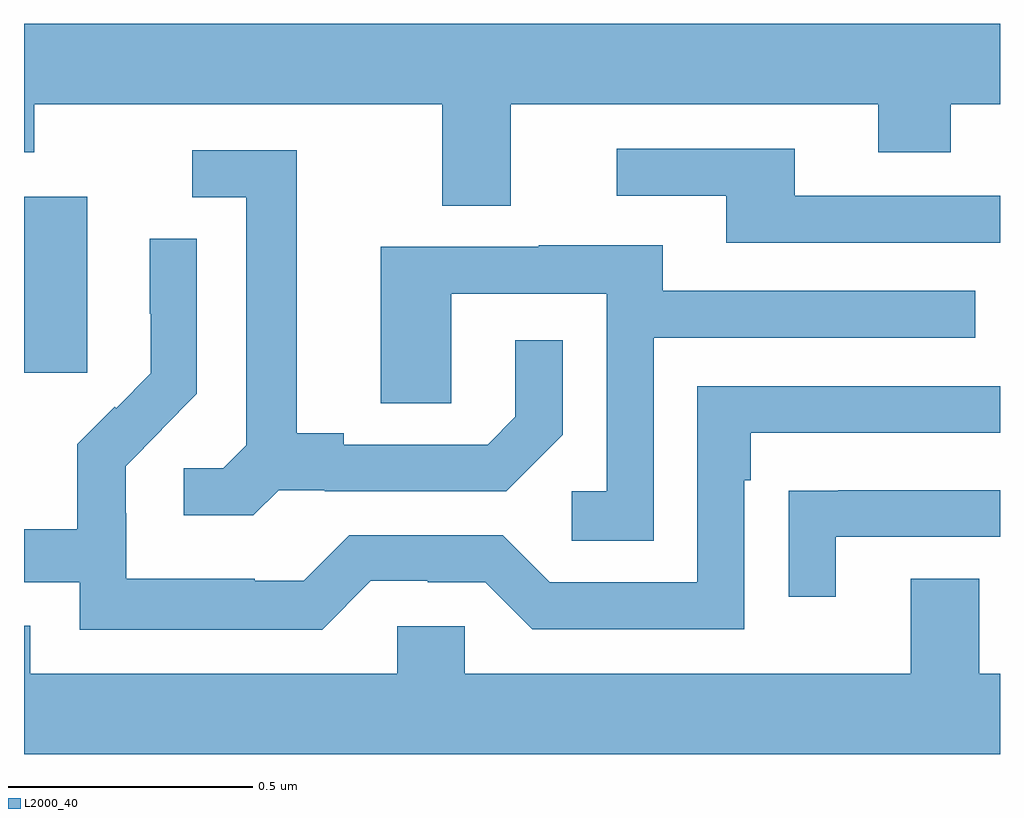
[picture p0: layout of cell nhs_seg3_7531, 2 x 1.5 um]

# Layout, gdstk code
import gdstk
lib = gdstk.Library(unit=1e-6, precision=1e-09)
def R(c, l, rs):  # rectangles x0, y0, x1, y1
    for r in rs: c.add(gdstk.rectangle(r[:2], r[2:], *l))
def P(c, l, *ps):  # polygons
    for p in ps: c.add(gdstk.Polygon(p, *l))
L2000_40 = (2000, 40)

nhs_seg3_7531 = lib.new_cell('nhs_seg3_7531')
R(nhs_seg3_7531, L2000_40, [(204,744.321,204.13,744.682)])
P(nhs_seg3_7531, L2000_40, [(204.997,744.872),(205.751,744.872),(205.751,744.773),(205.899,744.773),(205.899,744.872),(206,744.872),(206,745.036),(204,745.036),(204,744.773),(204.021,744.773),(204.021,744.872),(204.857,744.872),(204.857,744.664),(204.997,744.664)],
  [(206,744.684),(205.579,744.684),(205.579,744.78),(205.215,744.78),(205.215,744.684),(205.439,744.684),(205.439,744.588),(206,744.588)],
  [(204.522,744.081),(204.616,744.081),(204.616,744.078),(204.988,744.078),(205.104,744.194),(205.104,744.388),(205.007,744.388),(205.007,744.231),(204.95,744.174),(204.655,744.174),(204.655,744.197),(204.559,744.197),(204.559,744.777),(204.345,744.777),(204.345,744.681),(204.455,744.681),(204.455,744.173),(204.408,744.126),(204.327,744.126),(204.327,744.029),(204.47,744.029)],
  [(204.711,743.895),(204.827,743.895),(204.827,743.892),(204.945,743.892),(205.041,743.796),(205.476,743.796),(205.476,744.101),(205.489,744.101),(205.489,744.198),(206,744.198),(206,744.294),(205.38,744.294),(205.38,743.892),(205.077,743.892),(204.981,743.988),(204.666,743.988),(204.573,743.895),(204.473,743.895),(204.473,743.899),(204.21,743.899),(204.21,744.033),(204.208,744.033),(204.208,744.13),(204.282,744.204),(204.281,744.205),(204.354,744.278),(204.354,744.596),(204.258,744.596),(204.258,744.442),(204.26,744.442),(204.26,744.32),(204.189,744.249),(204.186,744.252),(204.109,744.175),(204.109,744.001),(204,744.001),(204,743.892),(204.114,743.892),(204.114,743.795),(204.611,743.795)],
  [(205.29,744.393),(205.949,744.393),(205.949,744.489),(205.309,744.489),(205.309,744.583),(205.055,744.583),(205.055,744.579),(204.731,744.579),(204.731,744.259),(204.876,744.259),(204.876,744.483),(205.194,744.483),(205.194,744.078),(205.122,744.078),(205.122,743.977),(205.29,743.977)],
  [(205.663,743.985),(206,743.985),(206,744.081),(205.669,744.081),(205.669,744.08),(205.567,744.08),(205.567,743.862),(205.663,743.862)],
  [(206,743.704),(205.957,743.704),(205.957,743.899),(205.817,743.899),(205.817,743.704),(204.903,743.704),(204.903,743.802),(204.765,743.802),(204.765,743.704),(204.013,743.704),(204.013,743.803),(204,743.803),(204,743.54),(206,743.54)])

lib.write_gds('nhs_seg3_7531.gds')
